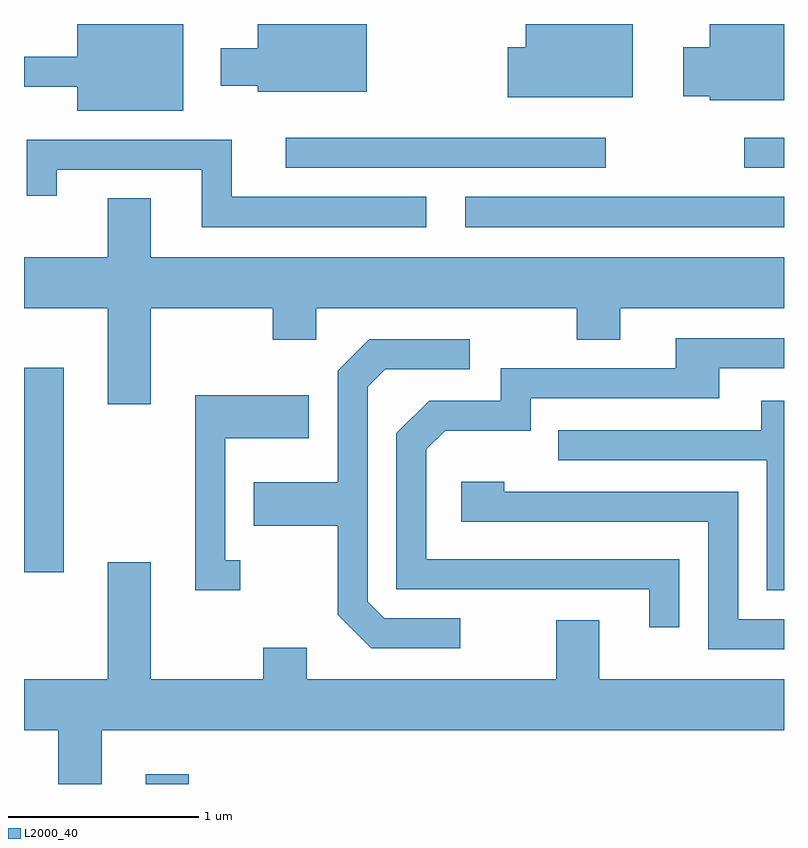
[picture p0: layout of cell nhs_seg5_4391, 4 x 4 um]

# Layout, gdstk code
import gdstk
lib = gdstk.Library(unit=1e-6, precision=1e-09)
def R(c, l, rs):  # rectangles x0, y0, x1, y1
    for r in rs: c.add(gdstk.rectangle(r[:2], r[2:], *l))
def P(c, l, *ps):  # polygons
    for p in ps: c.add(gdstk.Polygon(p, *l))
L2000_40 = (2000, 40)

nhs_seg5_4391 = lib.new_cell('nhs_seg5_4391')
R(nhs_seg5_4391, L2000_40, [(316.251,1452.072,316.479,1452.124), (315.611,1453.186,315.819,1454.264), (317.933,1455.001,319.611,1455.164), (316.988,1455.316,318.673,1455.474), (319.403,1455.316,319.611,1455.474)])
P(nhs_seg5_4391, L2000_40, [(316.449,1456.072),(315.891,1456.072),(315.891,1455.899),(315.611,1455.899),(315.611,1455.741),(315.891,1455.741),(315.891,1455.616),(316.449,1455.616)],
  [(319.611,1456.072),(319.221,1456.072),(319.221,1455.949),(319.081,1455.949),(319.081,1455.691),(319.221,1455.691),(319.221,1455.671),(319.611,1455.671)],
  [(317.414,1456.072),(316.841,1456.072),(316.841,1455.944),(316.646,1455.944),(316.646,1455.746),(316.841,1455.746),(316.841,1455.716),(317.414,1455.716)],
  [(318.814,1456.072),(318.251,1456.072),(318.251,1455.949),(318.156,1455.949),(318.156,1455.686),(318.814,1455.686)],
  [(317.728,1455.164),(316.704,1455.164),(316.704,1455.464),(315.626,1455.464),(315.626,1455.168),(315.784,1455.168),(315.784,1455.306),(316.546,1455.306),(316.546,1455.001),(317.728,1455.001)],
  [(316.279,1454.576),(316.921,1454.576),(316.921,1454.411),(317.149,1454.411),(317.149,1454.576),(318.521,1454.576),(318.521,1454.411),(318.749,1454.411),(318.749,1454.576),(319.611,1454.576),(319.611,1454.844),(316.279,1454.844),(316.279,1455.154),(316.051,1455.154),(316.051,1454.844),(315.611,1454.844),(315.611,1454.576),(316.051,1454.576),(316.051,1454.071),(316.279,1454.071)],
  [(319.059,1453.254),(317.729,1453.254),(317.729,1453.834),(317.827,1453.931),(318.279,1453.931),(318.279,1454.101),(319.269,1454.101),(319.269,1454.261),(319.611,1454.261),(319.611,1454.419),(319.041,1454.419),(319.041,1454.259),(318.121,1454.259),(318.121,1454.089),(317.744,1454.089),(317.571,1453.917),(317.571,1453.096),(318.901,1453.096),(318.901,1452.898),(319.059,1452.898)],
  [(317.908,1452.944),(317.507,1452.944),(317.419,1453.032),(317.419,1454.164),(317.512,1454.256),(317.958,1454.256),(317.958,1454.414),(317.429,1454.414),(317.261,1454.247),(317.261,1453.659),(316.821,1453.659),(316.821,1453.431),(317.261,1453.431),(317.261,1452.964),(317.439,1452.786),(317.908,1452.786)],
  [(316.748,1453.249),(316.669,1453.249),(316.669,1453.891),(317.109,1453.891),(317.109,1454.119),(316.511,1454.119),(316.511,1453.091),(316.748,1453.091)],
  [(319.611,1454.089),(319.491,1454.089),(319.491,1453.934),(318.423,1453.934),(318.423,1453.776),(319.521,1453.776),(319.521,1453.091),(319.611,1453.091)],
  [(319.611,1452.939),(319.369,1452.939),(319.369,1453.609),(318.139,1453.609),(318.139,1453.664),(317.911,1453.664),(317.911,1453.451),(319.211,1453.451),(319.211,1452.781),(319.611,1452.781)],
  [(319.611,1452.624),(318.639,1452.624),(318.639,1452.934),(318.411,1452.934),(318.411,1452.624),(317.099,1452.624),(317.099,1452.789),(316.871,1452.789),(316.871,1452.624),(316.279,1452.624),(316.279,1453.239),(316.051,1453.239),(316.051,1452.624),(315.611,1452.624),(315.611,1452.356),(315.791,1452.356),(315.791,1452.072),(316.019,1452.072),(316.019,1452.356),(319.611,1452.356)])

lib.write_gds('nhs_seg5_4391.gds')
